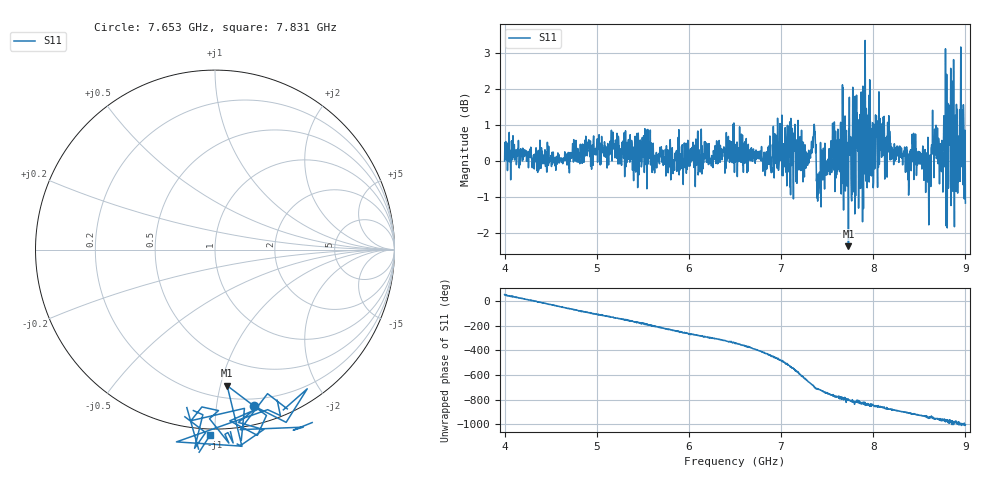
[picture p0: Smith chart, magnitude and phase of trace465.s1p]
! Created with skrf 1.8.0 (http://scikit-rf.org).
# Hz S RI R 50.0
!freq ReS11 ImS11
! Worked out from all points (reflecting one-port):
!   1601 points, 4 GHz to 9 GHz, reference 50 ohm
!   lowest |S11| = -2.4 dB at 7.731 GHz (marker M1), VSWR 7.36, Z = 14.6 - j52.5 ohm
!   phase of S11 starts at 54 deg and turns -1057 deg over the sweep
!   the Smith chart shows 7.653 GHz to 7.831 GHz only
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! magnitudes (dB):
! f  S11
! 4 GHz  0.0
! 4.625 GHz  0.0
! 5.25 GHz  -0.1
! 5.875 GHz  0.1
! 6.5 GHz  0.0
! 6.819 GHz  -0.1
! 7.125 GHz  0.2
! 7.262 GHz  0.3
! 7.353 GHz  0.7
! 7.409 GHz  -0.9
! 7.647 GHz  1.1
! 7.731 GHz  -2.4
! 7.75 GHz  0.2
! 7.784 GHz  0.2
! 7.803 GHz  1.8
! 7.875 GHz  0.0
! 7.928 GHz  0.9
! 7.981 GHz  -0.4
! 8.097 GHz  0.5
! 8.375 GHz  -0.1
! 8.441 GHz  -0.5
! 8.6 GHz  -0.5
! 8.656 GHz  0.4
! 8.738 GHz  0.1
! 8.847 GHz  1.0
! 8.903 GHz  1.6
! 8.972 GHz  0.3
! 9 GHz  -1.2
